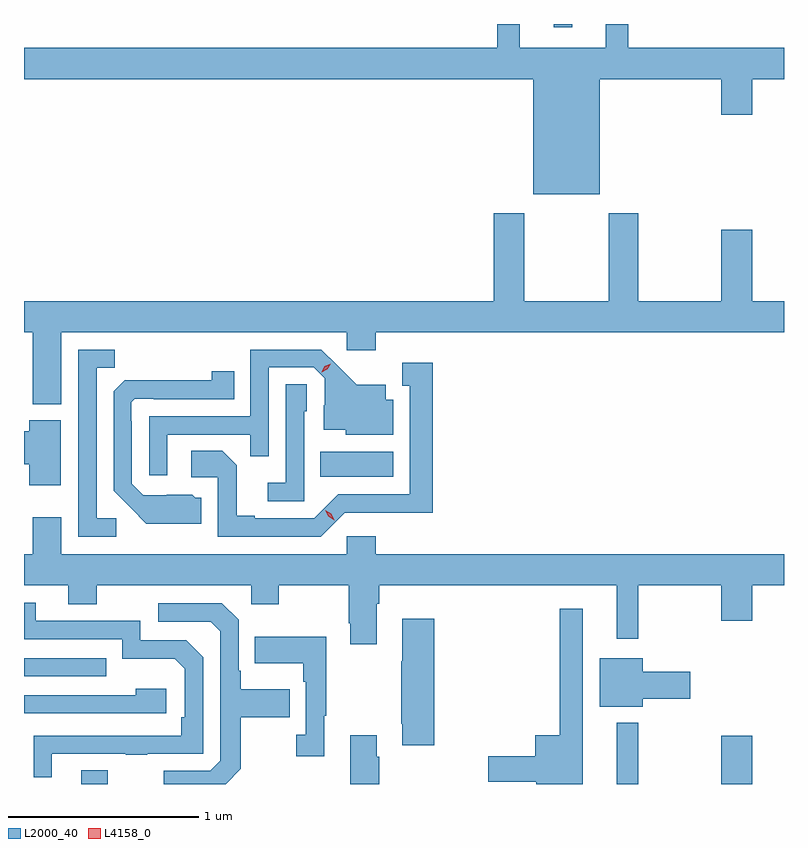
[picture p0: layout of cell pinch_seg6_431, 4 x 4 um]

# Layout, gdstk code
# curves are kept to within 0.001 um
import gdstk
lib = gdstk.Library(unit=1e-6, precision=1e-09)
def R(c, l, rs):  # rectangles x0, y0, x1, y1
    for r in rs: c.add(gdstk.rectangle(r[:2], r[2:], *l))
def P(c, l, *ps):  # polygons
    for p in ps: c.add(gdstk.Polygon(p, *l))
L2000_40 = (2000, 40)
L4158_0 = (4158, 0)

pinch_seg6_431 = lib.new_cell('pinch_seg6_431')
R(pinch_seg6_431, L2000_40, [(737.063,919.65,737.203,919.723), (739.883,919.65,739.997,919.972), (740.432,919.65,740.596,919.903), (736.763,920.217,737.195,920.313), (738.322,921.266,738.706,921.4), (739.551,923.634,739.648,923.65)])
P(pinch_seg6_431, L2000_40, [(739.442,922.754),(739.792,922.754),(739.792,923.36),(740.432,923.36),(740.432,923.172),(740.596,923.172),(740.596,923.36),(740.763,923.36),(740.763,923.524),(739.943,923.524),(739.943,923.65),(739.826,923.65),(739.826,923.524),(739.373,923.524),(739.373,923.65),(739.255,923.65),(739.255,923.524),(736.763,923.524),(736.763,923.36),(739.442,923.36)],
  [(736.96,922.028),(738.462,922.028),(738.462,921.933),(738.614,921.933),(738.614,922.028),(740.763,922.028),(740.763,922.192),(740.596,922.192),(740.596,922.567),(740.432,922.567),(740.432,922.192),(739.995,922.192),(739.995,922.654),(739.84,922.654),(739.84,922.192),(739.395,922.192),(739.395,922.654),(739.235,922.654),(739.235,922.192),(736.763,922.192),(736.763,922.028),(736.808,922.028),(736.808,921.65),(736.96,921.65)],
  [(737.517,921.489),(737.953,921.489),(737.953,921.376),(738.051,921.376),(738.051,921.843),(738.288,921.843),(738.345,921.786),(738.345,921.644),(738.341,921.644),(738.341,921.515),(738.456,921.515),(738.456,921.488),(738.706,921.488),(738.706,921.673),(738.667,921.673),(738.667,921.751),(738.515,921.751),(738.328,921.936),(737.955,921.936),(737.955,921.585),(737.421,921.585),(737.421,921.276),(737.517,921.276)],
  [(737.248,921.048),(737.145,921.048),(737.145,921.841),(737.241,921.841),(737.241,921.936),(737.049,921.936),(737.049,920.952),(737.248,920.952)],
  [(738.45,921.078),(738.913,921.077),(738.913,921.868),(738.755,921.868),(738.755,921.747),(738.794,921.747),(738.794,921.174),(738.417,921.174),(738.291,921.048),(737.977,921.048),(737.977,921.061),(737.883,921.061),(737.883,921.328),(737.807,921.404),(737.643,921.404),(737.643,921.264),(737.784,921.264),(737.784,920.952),(738.324,920.952)],
  [(737.695,921.156),(737.664,921.156),(737.648,921.172),(737.391,921.171),(737.331,921.231),(737.331,921.56),(737.328,921.56),(737.328,921.66),(737.346,921.678),(737.446,921.678),(737.446,921.675),(737.87,921.675),(737.87,921.823),(737.752,921.823),(737.752,921.776),(737.294,921.775),(737.235,921.716),(737.235,921.194),(737.407,921.02),(737.695,921.02)],
  [(738.237,921.612),(738.252,921.612),(738.252,921.755),(738.141,921.755),(738.141,921.235),(738.045,921.235),(738.045,921.138),(738.237,921.138)],
  [(736.957,921.565),(736.79,921.565),(736.79,921.506),(736.763,921.506),(736.763,921.334),(736.79,921.334),(736.79,921.222),(736.957,921.222)],
  [(738.619,920.6),(738.632,920.6),(738.632,920.696),(739.883,920.696),(739.883,920.415),(739.997,920.415),(739.997,920.696),(740.432,920.696),(740.432,920.508),(740.596,920.508),(740.596,920.696),(740.763,920.696),(740.763,920.86),(738.614,920.86),(738.614,920.953),(738.462,920.953),(738.462,920.86),(736.96,920.86),(736.96,921.055),(736.808,921.055),(736.808,920.86),(736.763,920.86),(736.763,920.696),(736.997,920.696),(736.997,920.597),(737.145,920.597),(737.145,920.696),(737.958,920.696),(737.958,920.597),(738.105,920.597),(738.105,920.696),(738.472,920.696),(738.472,920.497),(738.479,920.497),(738.479,920.385),(738.619,920.385)],
  [(736.909,919.809),(737.299,919.809),(737.299,919.804),(737.411,919.804),(737.411,919.809),(737.706,919.809),(737.706,920.316),(737.616,920.406),(737.376,920.406),(737.376,920.508),(736.825,920.508),(736.825,920.604),(736.763,920.604),(736.763,920.412),(737.28,920.412),(737.28,920.309),(737.557,920.309),(737.61,920.256),(737.61,920.002),(737.59,920.002),(737.59,919.905),(736.813,919.904),(736.813,919.686),(736.909,919.686)],
  [(737.905,919.729),(737.905,920.002),(738.161,920.002),(738.161,920.149),(737.905,920.149),(737.905,920.245),(737.892,920.245),(737.892,920.514),(737.805,920.601),(737.469,920.601),(737.469,920.505),(737.745,920.505),(737.796,920.454),(737.796,919.773),(737.742,919.719),(737.499,919.719),(737.499,919.65),(737.826,919.65)],
  [(739.705,920.572),(739.584,920.572),(739.584,919.906),(739.454,919.906),(739.454,919.796),(739.206,919.796),(739.206,919.661),(739.458,919.661),(739.458,919.65),(739.705,919.65)],
  [(738.923,920.521),(738.755,920.521),(738.755,920.297),(738.748,920.297),(738.748,919.966),(738.755,919.966),(738.755,919.854),(738.923,919.854)],
  [(738.343,920.009),(738.355,920.009),(738.355,920.425),(737.977,920.425),(737.977,920.285),(738.234,920.285),(738.234,920.189),(738.246,920.189),(738.246,919.91),(738.195,919.91),(738.195,919.797),(738.343,919.797)],
  [(740.02,920.099),(740.269,920.099),(740.269,920.241),(740.02,920.241),(740.02,920.311),(739.793,920.311),(739.793,920.057),(740.02,920.057)],
  [(737.512,920.152),(737.351,920.152),(737.351,920.118),(736.763,920.118),(736.763,920.022),(737.512,920.022)],
  [(738.632,919.793),(738.619,919.793),(738.619,919.906),(738.479,919.906),(738.479,919.65),(738.632,919.65)])
P(pinch_seg6_431, L4158_0, [(738.397,921.039),(738.365,921.058),(738.348,921.091),(738.348,921.091),(738.348,921.091),(738.379,921.072),(738.397,921.04),(738.397,921.039)],
  [(738.33,921.818),(738.33,921.819),(738.347,921.848),(738.377,921.863),(738.378,921.863),(738.378,921.863),(738.36,921.833),(738.33,921.818)])

lib.write_gds('pinch_seg6_431.gds')
